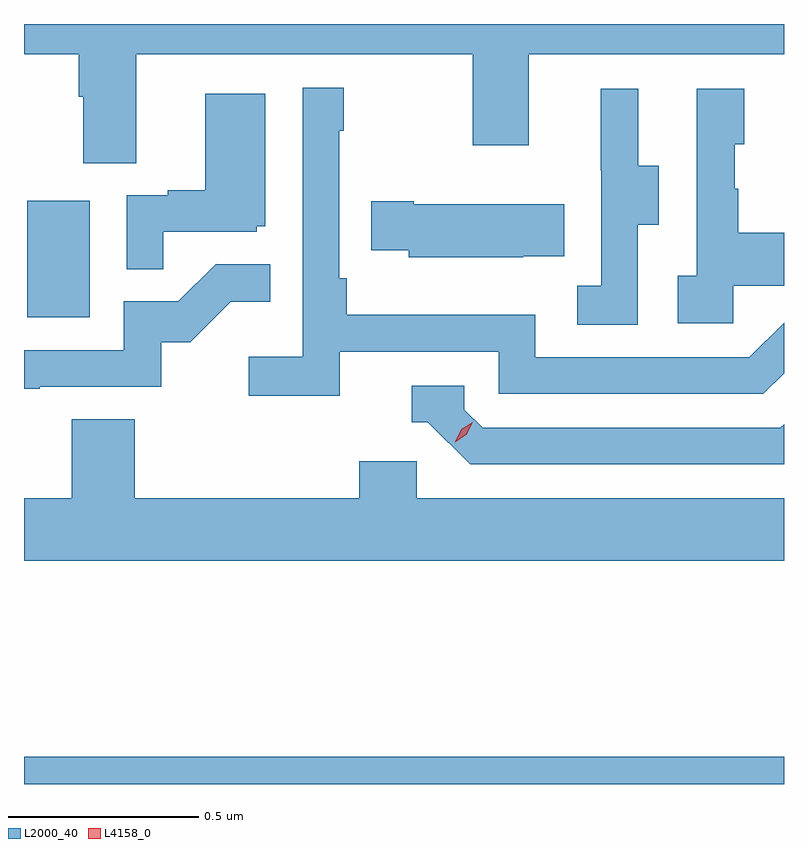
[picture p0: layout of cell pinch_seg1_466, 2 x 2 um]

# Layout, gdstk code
import gdstk
lib = gdstk.Library(unit=1e-6, precision=1e-09)
def R(c, l, rs):  # rectangles x0, y0, x1, y1
    for r in rs: c.add(gdstk.rectangle(r[:2], r[2:], *l))
def P(c, l, *ps):  # polygons
    for p in ps: c.add(gdstk.Polygon(p, *l))
L2000_40 = (2000, 40)
L4158_0 = (4158, 0)

pinch_seg1_466 = lib.new_cell('pinch_seg1_466')
R(pinch_seg1_466, L2000_40, [(1012.241,503.192,1014.241,503.264), (1012.25,504.42,1012.414,504.727)])
P(pinch_seg1_466, L2000_40, [(1012.537,505.112),(1013.422,505.112),(1013.422,504.873),(1013.569,504.873),(1013.569,505.112),(1014.241,505.112),(1014.241,505.192),(1012.241,505.192),(1012.241,505.112),(1012.385,505.112),(1012.385,505),(1012.397,505),(1012.397,504.826),(1012.537,504.826)],
  [(1013.072,504.33),(1013.49,504.33),(1013.49,504.219),(1014.187,504.219),(1014.241,504.273),(1014.241,504.406),(1014.15,504.315),(1013.586,504.315),(1013.586,504.427),(1013.09,504.427),(1013.09,504.523),(1013.07,504.523),(1013.07,504.911),(1013.083,504.911),(1013.083,505.024),(1012.974,505.024),(1012.974,504.316),(1012.833,504.316),(1012.833,504.214),(1013.072,504.214)],
  [(1014.108,504.503),(1014.241,504.503),(1014.241,504.643),(1014.121,504.643),(1014.121,504.758),(1014.111,504.758),(1014.111,504.876),(1014.136,504.876),(1014.136,505.021),(1014.012,505.021),(1014.012,504.53),(1013.961,504.53),(1013.961,504.405),(1014.108,504.405)],
  [(1013.856,504.664),(1013.911,504.664),(1013.911,504.819),(1013.857,504.819),(1013.857,505.021),(1013.759,505.021),(1013.759,504.807),(1013.76,504.807),(1013.76,504.503),(1013.697,504.503),(1013.697,504.4),(1013.856,504.4)],
  [(1012.607,504.645),(1012.854,504.645),(1012.854,504.66),(1012.876,504.66),(1012.876,505.009),(1012.718,505.009),(1012.718,504.754),(1012.619,504.754),(1012.619,504.741),(1012.512,504.741),(1012.512,504.547),(1012.607,504.547)],
  [(1013.555,504.581),(1013.663,504.581),(1013.663,504.718),(1013.266,504.718),(1013.266,504.726),(1013.155,504.726),(1013.155,504.596),(1013.253,504.596),(1013.253,504.578),(1013.555,504.578)],
  [(1012.283,504.237),(1012.602,504.237),(1012.602,504.354),(1012.678,504.354),(1012.785,504.461),(1012.889,504.461),(1012.889,504.56),(1012.745,504.56),(1012.647,504.462),(1012.503,504.462),(1012.503,504.333),(1012.241,504.333),(1012.241,504.232),(1012.283,504.232)],
  [(1014.241,504.139),(1014.231,504.129),(1013.448,504.129),(1013.4,504.177),(1013.4,504.24),(1013.261,504.24),(1013.261,504.144),(1013.304,504.144),(1013.415,504.033),(1014.241,504.033)],
  [(1014.241,503.944),(1013.274,503.944),(1013.274,504.042),(1013.123,504.042),(1013.123,503.944),(1012.532,503.944),(1012.532,504.152),(1012.367,504.152),(1012.367,503.944),(1012.241,503.944),(1012.241,503.78),(1014.241,503.78)])
P(pinch_seg1_466, L4158_0, [(1013.376,504.092),(1013.376,504.093),(1013.392,504.125),(1013.422,504.144),(1013.422,504.144),(1013.422,504.144),(1013.406,504.112),(1013.376,504.092)])

lib.write_gds('pinch_seg1_466.gds')
